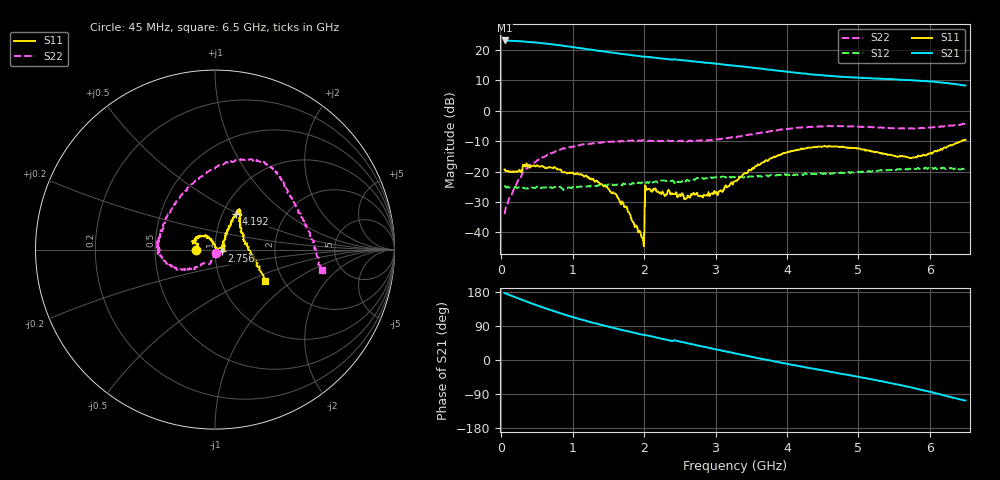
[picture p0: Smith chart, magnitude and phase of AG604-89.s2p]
! WJ Communications, Inc.
! AG604-89 InGaP HBT Gain Block
! The data is for the unmatched device in a 50 Ohm fixture, de-embedded to the device leads.
! Device bias: +5.16 V @ 75 mA -> Note a bias dropping resistor must be used for proper operation.
! Data From 60489b.s2p
# MHZ S DB R 50
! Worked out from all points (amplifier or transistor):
!   401 points, 45 MHz to 6.5 GHz, reference 50 ohm
!   highest |S21| = 23.1 dB at 45 MHz (marker M1)
!   |S21| within 3 dB of that: start of sweep to 1.249 GHz
!   unconditionally stable (mu >= 1): start of sweep to end of sweep
!   at 1.11 GHz: K = 1.08, MAG = 21.0 dB, |S12| = -24.9 dB
!   at 3.272 GHz: K = 1.22, MAG = 15.4 dB, |S12| = -21.9 dB
!   at 6.5 GHz: K = 1.34, MAG = 10.3 dB, |S12| = -19.3 dB
!   S11 on the Smith chart (normalised r, x): 45 MHz: 0.80, -0.00; 2.756 GHz: 1.08, -0.02; 4.192 GHz: 1.16, +0.49; 6.5 GHz: 1.62, -0.64
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45  -19.29 -179.3  23.05 176.6  -24.61 2.8  -33.94 -78.2
270.925  -20.18 163.3  22.80 160.0  -25.43 1.3  -21.96 -107.8
448.4376  -18.01 156.9  22.45 147.5  -25.34 -2.8  -17.15 -135.6
577.5375  -18.29 148.8  22.13 139.0  -25.26 -2.2  -15.28 -140.5
819.5996  -19.33 134.9  21.45 123.7  -25.10 -3.8  -12.84 -151.6
948.6994  -20.40 126.1  21.05 116.2  -25.24 -7.5  -11.92 -156.1
1126.212  -21.12 121.3  20.48 106.4  -25.03 -8.9  -11.19 -162.7
1368.274  -23.73 113.3  19.66 94.1  -24.46 -5.7  -10.50 -171.2
1642.611  -28.92 110.5  18.77 81.3  -24.25 -10.2  -10.03 -178.7
1965.36  -41.65 6.3  17.76 67.2  -23.54 -8.6  -9.81 170.8
2046.047  -25.76 16.8  17.64 64.7  -23.41 -9.8  -10.05 -176.8
2207.422  -27.02 5.1  17.23 57.6  -23.35 -11.3  -10.02 174.7
2368.797  -27.55 -11.2  16.84 51.3  -23.05 -16.5  -10.02 167.6
2449.484  -26.82 -0.7  16.76 50.8  -23.25 -19.7  -10.07 166.7
2756.096  -28.00 -14.5  16.04 38.0  -22.27 -21.5  -9.96 149.6
3288.633  -23.18 45.4  14.65 16.9  -21.64 -29.0  -8.81 115.6
3756.62  -15.84 57.9  13.44 -1.2  -21.24 -40.8  -6.79 89.7
4192.331  -12.64 59.2  12.27 -16.8  -20.98 -49.9  -5.59 72.8
4353.707  -12.12 58.9  11.92 -22.2  -20.86 -54.7  -5.39 67.0
5434.935  -14.45 41.4  10.36 -60.3  -19.55 -78.7  -5.70 37.2
6032.031  -14.22 -7.8  9.58 -85.0  -18.84 -96.3  -5.50 11.4
6500  -9.59 -32.2  8.28 -107.0  -19.26 -113.5  -4.34 -10.8
